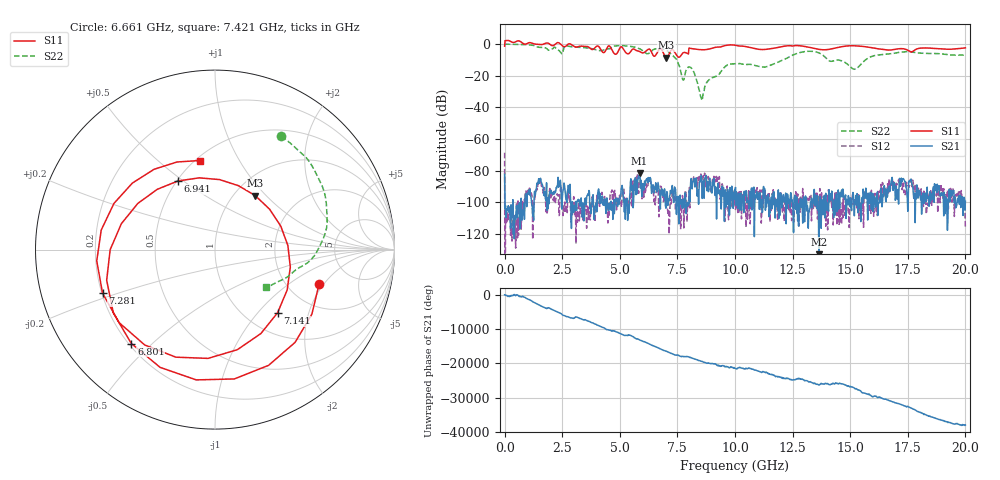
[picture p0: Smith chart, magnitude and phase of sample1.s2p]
! MS46122A
! 1535301/65260029
! 9/21/2023 11:18:05 AM
! D:\PC DATA\DESKTOP\PROPOSAL\IIIT GUWAHATI\PORT 1.S2P
! CHANNEL.1
! TR.MEASUREMENT
! CORRECTED.DATA
# GHZ S RI R 50.0
! FREQ.GHZ  S11RE  S11IM  S21RE  S21IM  S12RE  S12IM  S22RE  S22IM
!; PortSelection: Port_12
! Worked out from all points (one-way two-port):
!   1001 points, 1 MHz to 20 GHz, reference 50 ohm
!   highest |S21| = -81.61 dB at 5.861 GHz (marker M1); lowest = -137.0 dB at 13.64 GHz (marker M2)
!   lowest |S11| = -8.5 dB at 7.021 GHz (marker M3), VSWR 2.20, Z = 62.1 + j43.5 ohm
!   |S11| at or under -10 dB: nowhere
!   |S22| runs from -35.5 to 0.0 dB; largest |S21 - S12| = 0.00042
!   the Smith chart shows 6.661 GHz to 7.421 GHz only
!   S11 on the Smith chart (normalised r, x): 6.661 GHz: 2.93, -1.81; 6.801 GHz: 0.21, -0.43; 6.941 GHz: 0.51, +0.48; 7.141 GHz: 1.38, -1.28; 7.281 GHz: 0.20, -0.18; 7.421 GHz: 0.52, +0.70
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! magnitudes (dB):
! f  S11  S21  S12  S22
! 1 MHz  -1.3  -82.3  -68.6  0.0
! 121 MHz  2.3  -104.9  -106.7  0.0
! 3.341 GHz  -1.3  -101.7  -109.5  -2.1
! 5.861 GHz  -4.7  -81.6  -85.9  -2.9
! 6.661 GHz  -4.3  -87.4  -89.4  -2.7
! 6.681 GHz  -3.8  -89.6  -98.8  -2.7
! 6.801 GHz  -3.1  -92.6  -90.0  -2.9
! 6.941 GHz  -7.2  -91.5  -96.3  -3.4
! 7.021 GHz  -8.5  -96.2  -103.2  -3.8
! 7.141 GHz  -6.1  -99.1  -120.0  -5.1
! 7.281 GHz  -3.5  -89.4  -94.0  -7.1
! 7.421 GHz  -6.0  -91.7  -105.1  -9.0
! 7.741 GHz  -5.6  -99.0  -98.6  -22.6
! 8.141 GHz  -2.9  -91.5  -88.4  -15.7
! 8.561 GHz  -3.5  -85.6  -86.9  -34.9
! 8.861 GHz  -3.2  -92.9  -86.2  -22.7
! 10 GHz  -0.7  -98.1  -101.8  -12.4
! 13.34 GHz  -2.4  -99.1  -99.3  -4.5
! 13.64 GHz  -3.3  -137.0  -96.3  -5.5
! 15.18 GHz  -1.0  -108.5  -102.6  -15.9
! 16.68 GHz  -3.7  -90.4  -85.2  -6.3
! 20 GHz  -2.4  -99.4  -116.7  -6.7
